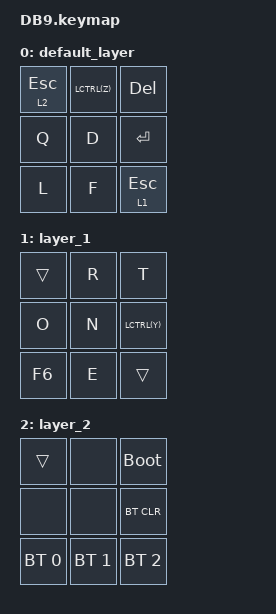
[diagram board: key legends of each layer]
#include <behaviors.dtsi>
#include <dt-bindings/zmk/keys.h>
#include <dt-bindings/zmk/bt.h>

/ {
    behaviors {
        // --- Comportamento 1: Segura para Layer 1, Toca para ESCAPE ---
        // O label é "lh" e o node é "lh"
        lh: lh {
            compatible = "zmk,behavior-hold-tap";
            #binding-cells = <2>;
            tapping-term-ms = <200>;
            // Segurar = &mo (Momentary layer), Tocar = &kp (Keypress)
            bindings = <&mo>, <&kp>;
        };

        // --- Comportamento 2: Segura para Layer 2, Toca para ESCAPE ---
        // O label é "lh_bt" e o node é "lh_bt"
        lh_bt: lh_bt {
            compatible = "zmk,behavior-hold-tap";
            #binding-cells = <2>;
            tapping-term-ms = <200>;
            // Segurar = &mo (Momentary layer), Tocar = &kp (Keypress)
            bindings = <&mo>, <&kp>;
        };
    };

    keymap {
        compatible = "zmk,keymap";

        // --- Camada 0: Padrão (Híbrida) ---
        default_layer {
            // Sintaxe Verificada:
            // &lh_bt 2 ESCAPE -> Comportamento (label &lh_bt), Param 1 (layer 2), Param 2 (tecla ESCAPE)
            // &kp LCTRL(Z) -> Tecla modificada (Ctrl + Z)
            // &kp DEL -> Tecla Delete
            bindings = <
                &lh_bt 2 ESCAPE    &kp LCTRL(Z)    &kp DEL
                &kp Q              &kp D           &kp RET     // RET = Enter
                &kp L              &kp F           &lh 1 ESCAPE
            >;
        };

        // --- Camada 1: Sketch Avançado ---
        layer_1 {
            // Sintaxe Verificada:
            // &trans -> Transparente (usa a tecla da camada 0)
            // &kp N -> Tecla N
            // &kp LCTRL(Y) -> Tecla modificada (Ctrl + Y)
            bindings = <
                &trans          &kp R           &kp T
                &kp O           &kp N           &kp LCTRL(Y)
                &kp F6          &kp E           &trans
            >;
        };

        // --- Camada 2: Bluetooth (Seu layout) ---
        layer_2 {
            // Sintaxe Verificada:
            // &bootloader -> Entra no modo bootloader
            // &bt BT_CLR -> Comando Bluetooth "Clear"
            // &bt BT_SEL 0 -> Comando Bluetooth "Select profile 0"
            bindings = <
                &trans          &none           &bootloader
                &none           &none           &bt BT_CLR
                &bt BT_SEL 0    &bt BT_SEL 1    &bt BT_SEL 2
            >;
        };
    };
};
